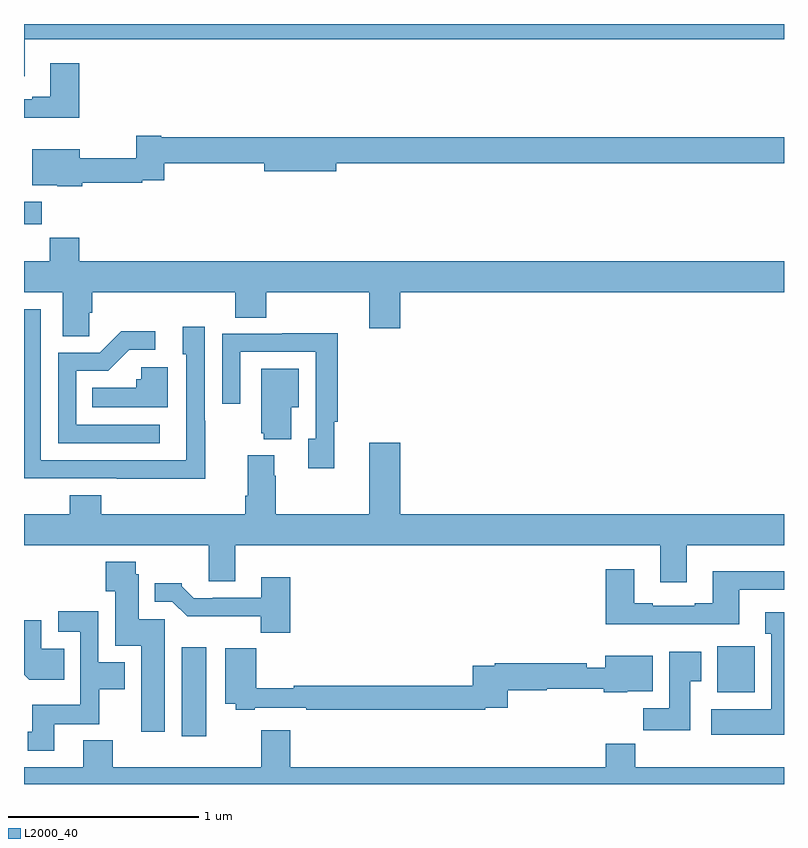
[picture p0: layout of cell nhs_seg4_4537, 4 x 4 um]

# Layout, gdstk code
import gdstk
lib = gdstk.Library(unit=1e-6, precision=1e-09)
def R(c, l, rs):  # rectangles x0, y0, x1, y1
    for r in rs: c.add(gdstk.rectangle(r[:2], r[2:], *l))
def P(c, l, *ps):  # polygons
    for p in ps: c.add(gdstk.Polygon(p, *l))
L2000_40 = (2000, 40)

nhs_seg4_4537 = lib.new_cell('nhs_seg4_4537')
R(nhs_seg4_4537, L2000_40, [(355.829,793.152,355.96,793.621), (358.649,793.382,358.846,793.624), (355,795.846,355.094,795.964)])
P(nhs_seg4_4537, L2000_40, [(355.003,796.82),(359,796.82),(359,796.9),(355,796.9),(355,796.626),(355.003,796.626)],
  [(355.292,796.693),(355.139,796.693),(355.139,796.516),(355.043,796.516),(355.043,796.503),(355,796.503),(355,796.406),(355.292,796.406)],
  [(355.307,796.065),(355.622,796.065),(355.622,796.077),(355.739,796.077),(355.739,796.168),(356.264,796.168),(356.264,796.126),(356.644,796.126),(356.644,796.168),(359,796.168),(359,796.304),(355.722,796.304),(355.722,796.312),(355.591,796.312),(355.591,796.193),(355.294,796.193),(355.294,796.24),(355.043,796.24),(355.043,796.052),(355.176,796.052),(355.176,796.046),(355.307,796.046)],
  [(355.344,795.379),(355.358,795.379),(355.358,795.488),(356.111,795.488),(356.111,795.355),(356.276,795.355),(356.276,795.488),(356.816,795.488),(356.816,795.3),(356.98,795.3),(356.98,795.488),(359,795.488),(359,795.652),(355.292,795.652),(355.292,795.776),(355.135,795.776),(355.135,795.652),(355,795.652),(355,795.488),(355.205,795.488),(355.205,795.256),(355.344,795.256)],
  [(355.953,794.813),(355.95,794.813),(355.95,795.307),(355.835,795.307),(355.835,795.162),(355.854,795.162),(355.854,794.816),(355.853,794.816),(355.853,794.604),(355.089,794.604),(355.089,795.399),(355,795.399),(355,794.508),(355.489,794.508),(355.489,794.507),(355.953,794.507)],
  [(355.714,794.79),(355.275,794.79),(355.275,795.075),(355.444,795.075),(355.555,795.186),(355.69,795.186),(355.69,795.284),(355.511,795.284),(355.398,795.171),(355.179,795.171),(355.179,794.694),(355.714,794.694)],
  [(356.633,794.806),(356.651,794.806),(356.651,795.272),(356.359,795.272),(356.359,795.27),(356.043,795.27),(356.043,794.901),(356.139,794.901),(356.139,795.174),(356.535,795.174),(356.535,794.718),(356.495,794.718),(356.495,794.562),(356.633,794.562)],
  [(355.756,795.094),(355.617,795.094),(355.617,795.03),(355.591,795.03),(355.591,794.986),(355.36,794.986),(355.36,794.882),(355.756,794.882)],
  [(356.407,794.882),(356.446,794.882),(356.446,795.085),(356.249,795.085),(356.249,794.745),(356.261,794.745),(356.261,794.714),(356.407,794.714)],
  [(358.489,794.156),(359,794.156),(359,794.32),(356.98,794.32),(356.98,794.695),(356.816,794.695),(356.816,794.32),(356.325,794.32),(356.325,794.522),(356.317,794.522),(356.317,794.629),(356.177,794.629),(356.177,794.416),(356.165,794.416),(356.165,794.32),(355.406,794.32),(355.406,794.419),(355.241,794.419),(355.241,794.32),(355,794.32),(355,794.156),(355.973,794.156),(355.973,793.966),(356.113,793.966),(356.113,794.156),(358.349,794.156),(358.349,793.962),(358.489,793.962)],
  [(355.741,793.767),(355.603,793.767),(355.603,794.004),(355.587,794.004),(355.587,794.071),(355.43,794.071),(355.43,793.915),(355.481,793.915),(355.481,793.628),(355.616,793.628),(355.616,793.176),(355.741,793.176)],
  [(358.765,793.923),(359,793.923),(359,794.02),(358.625,794.02),(358.625,793.852),(358.529,793.852),(358.529,793.839),(358.309,793.839),(358.309,793.852),(358.213,793.852),(358.213,794.029),(358.061,794.029),(358.061,793.742),(358.765,793.742)],
  [(356.402,793.987),(356.249,793.987),(356.249,793.881),(355.993,793.881),(355.993,793.878),(355.894,793.878),(355.83,793.942),(355.83,793.957),(355.688,793.957),(355.688,793.86),(355.779,793.86),(355.858,793.782),(356.247,793.782),(356.247,793.697),(356.402,793.697)],
  [(355.159,793.214),(355.395,793.214),(355.395,793.4),(355.531,793.4),(355.531,793.54),(355.392,793.54),(355.392,793.81),(355.179,793.81),(355.179,793.701),(355.296,793.701),(355.296,793.318),(355.043,793.318),(355.043,793.176),(355.019,793.176),(355.019,793.074),(355.159,793.074)],
  [(359,793.804),(358.901,793.804),(358.901,793.691),(358.934,793.691),(358.934,793.294),(358.617,793.294),(358.617,793.16),(359,793.16)],
  [(355.211,793.612),(355.09,793.612),(355.09,793.762),(355,793.762),(355,793.476),(355.028,793.448),(355.211,793.448)],
  [(356.215,793.302),(356.485,793.302),(356.485,793.29),(357.428,793.29),(357.428,793.302),(357.545,793.302),(357.545,793.393),(357.75,793.393),(357.75,793.401),(358.051,793.401),(358.051,793.382),(358.176,793.382),(358.176,793.388),(358.309,793.388),(358.309,793.576),(358.058,793.576),(358.058,793.512),(357.962,793.512),(357.962,793.535),(357.478,793.535),(357.478,793.522),(357.362,793.522),(357.362,793.418),(356.42,793.418),(356.42,793.403),(356.222,793.403),(356.222,793.615),(356.06,793.615),(356.06,793.322),(356.115,793.322),(356.115,793.29),(356.215,793.29)],
  [(358.507,793.441),(358.564,793.441),(358.564,793.597),(358.397,793.597),(358.397,793.3),(358.258,793.3),(358.258,793.182),(358.507,793.182)],
  [(359,792.988),(358.217,792.988),(358.217,793.112),(358.061,793.112),(358.061,792.988),(356.402,792.988),(356.402,793.183),(356.249,793.183),(356.249,792.988),(355.466,792.988),(355.466,793.129),(355.313,793.129),(355.313,792.988),(355,792.988),(355,792.9),(359,792.9)])

lib.write_gds('nhs_seg4_4537.gds')
